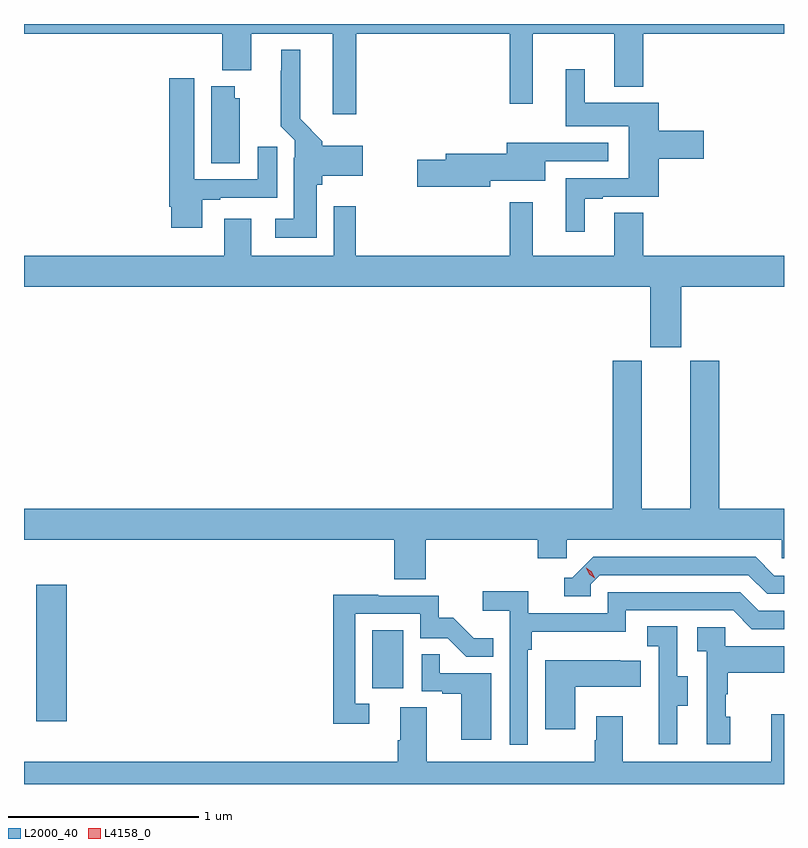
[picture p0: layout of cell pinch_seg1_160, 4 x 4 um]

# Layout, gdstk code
import gdstk
lib = gdstk.Library(unit=1e-6, precision=1e-09)
def R(c, l, rs):  # rectangles x0, y0, x1, y1
    for r in rs: c.add(gdstk.rectangle(r[:2], r[2:], *l))
def P(c, l, *ps):  # polygons
    for p in ps: c.add(gdstk.Polygon(p, *l))
L2000_40 = (2000, 40)
L4158_0 = (4158, 0)

pinch_seg1_160 = lib.new_cell('pinch_seg1_160')
R(pinch_seg1_160, L2000_40, [(1095.953,542.784,1096.114,543.505), (1097.72,542.958,1097.884,543.265)])
P(pinch_seg1_160, L2000_40, [(1097.636,546.404),(1098.444,546.404),(1098.444,546.036),(1098.565,546.036),(1098.565,546.404),(1098.995,546.404),(1098.995,546.125),(1099.148,546.125),(1099.148,546.404),(1099.888,546.404),(1099.888,546.455),(1095.888,546.455),(1095.888,546.404),(1096.931,546.404),(1096.931,546.212),(1097.083,546.212),(1097.083,546.404),(1097.513,546.404),(1097.513,545.979),(1097.636,545.979)],
  [(1097.428,545.61),(1097.459,545.61),(1097.459,545.657),(1097.671,545.657),(1097.671,545.815),(1097.459,545.815),(1097.459,545.838),(1097.341,545.956),(1097.341,546.319),(1097.243,546.319),(1097.243,546.209),(1097.239,546.209),(1097.239,545.918),(1097.313,545.844),(1097.313,545.75),(1097.309,545.75),(1097.309,545.431),(1097.211,545.431),(1097.211,545.33),(1097.428,545.33)],
  [(1098.838,545.535),(1098.934,545.535),(1098.934,545.547),(1099.229,545.547),(1099.229,545.747),(1099.465,545.747),(1099.465,545.894),(1099.229,545.894),(1099.229,546.04),(1098.838,546.04),(1098.838,546.217),(1098.74,546.217),(1098.74,545.918),(1099.07,545.918),(1099.07,545.643),(1098.74,545.643),(1098.74,545.361),(1098.838,545.361)],
  [(1096.825,545.529),(1096.921,545.529),(1096.921,545.541),(1097.221,545.541),(1097.221,545.809),(1097.117,545.809),(1097.117,545.637),(1096.783,545.637),(1096.783,546.169),(1096.652,546.169),(1096.652,545.494),(1096.664,545.494),(1096.664,545.382),(1096.825,545.382)],
  [(1097.023,546.063),(1096.996,546.063),(1096.996,546.127),(1096.874,546.127),(1096.874,545.722),(1097.023,545.722)],
  [(1098.342,545.63),(1098.631,545.63),(1098.631,545.733),(1098.964,545.733),(1098.964,545.829),(1098.644,545.829),(1098.644,545.831),(1098.428,545.831),(1098.428,545.771),(1098.107,545.771),(1098.107,545.741),(1097.958,545.741),(1097.958,545.599),(1098.342,545.599)],
  [(1098.444,545.518),(1098.444,545.236),(1097.633,545.236),(1097.633,545.497),(1097.517,545.497),(1097.517,545.236),(1097.083,545.236),(1097.083,545.431),(1096.943,545.431),(1096.943,545.236),(1095.888,545.236),(1095.888,545.072),(1099.184,545.072),(1099.184,544.755),(1099.348,544.755),(1099.348,545.072),(1099.888,545.072),(1099.888,545.236),(1099.148,545.236),(1099.148,545.462),(1098.995,545.462),(1098.995,545.236),(1098.565,545.236),(1098.565,545.518)],
  [(1098.002,543.74),(1098.593,543.74),(1098.593,543.642),(1098.744,543.642),(1098.744,543.74),(1099.875,543.74),(1099.875,543.642),(1099.888,543.642),(1099.888,543.904),(1099.547,543.904),(1099.547,544.683),(1099.394,544.683),(1099.394,543.904),(1099.138,543.904),(1099.138,544.683),(1098.986,544.683),(1098.986,543.904),(1095.888,543.904),(1095.888,543.74),(1097.837,543.74),(1097.837,543.532),(1098.002,543.532)],
  [(1098.87,543.507),(1098.918,543.555),(1099.701,543.555),(1099.8,543.456),(1099.888,543.456),(1099.888,543.552),(1099.837,543.552),(1099.738,543.651),(1098.885,543.651),(1098.774,543.54),(1098.731,543.54),(1098.731,543.444),(1098.87,543.444)],
  [(1098.54,543.161),(1098.56,543.161),(1098.56,543.257),(1099.056,543.257),(1099.056,543.369),(1099.62,543.369),(1099.719,543.27),(1099.888,543.27),(1099.888,543.366),(1099.756,543.366),(1099.657,543.465),(1098.96,543.465),(1098.96,543.354),(1098.542,543.354),(1098.542,543.47),(1098.303,543.47),(1098.303,543.368),(1098.444,543.368),(1098.444,542.661),(1098.54,542.661)],
  [(1097.704,542.877),(1097.631,542.877),(1097.631,543.351),(1097.973,543.351),(1097.973,543.222),(1098.117,543.222),(1098.215,543.124),(1098.359,543.124),(1098.359,543.223),(1098.255,543.223),(1098.148,543.33),(1098.072,543.33),(1098.072,543.447),(1097.753,543.447),(1097.753,543.452),(1097.515,543.452),(1097.515,542.772),(1097.704,542.772)],
  [(1099.327,542.866),(1099.381,542.866),(1099.381,543.021),(1099.326,543.021),(1099.326,543.284),(1099.167,543.284),(1099.167,543.181),(1099.23,543.181),(1099.23,542.877),(1099.229,542.877),(1099.229,542.664),(1099.327,542.664)],
  [(1099.606,542.808),(1099.581,542.808),(1099.581,542.927),(1099.591,542.927),(1099.591,543.041),(1099.888,543.041),(1099.888,543.181),(1099.578,543.181),(1099.578,543.279),(1099.431,543.279),(1099.431,543.155),(1099.482,543.155),(1099.482,542.664),(1099.606,542.664)],
  [(1098.346,543.039),(1098.077,543.039),(1098.077,543.137),(1097.982,543.137),(1097.982,542.943),(1098.089,542.943),(1098.089,542.931),(1098.188,542.931),(1098.188,542.688),(1098.346,542.688)],
  [(1098.79,542.966),(1099.133,542.966),(1099.133,543.103),(1099.025,543.103),(1099.025,543.106),(1098.632,543.106),(1098.632,542.742),(1098.79,542.742)],
  [(1099.888,542.821),(1099.82,542.821),(1099.82,542.572),(1099.039,542.572),(1099.039,542.812),(1098.899,542.812),(1098.899,542.684),(1098.892,542.684),(1098.892,542.572),(1098.007,542.572),(1098.007,542.858),(1097.867,542.858),(1097.867,542.684),(1097.855,542.684),(1097.855,542.572),(1095.888,542.572),(1095.888,542.455),(1099.888,542.455)])
P(pinch_seg1_160, L4158_0, [(1098.892,543.539),(1098.862,543.56),(1098.846,543.593),(1098.846,543.593),(1098.847,543.593),(1098.877,543.573),(1098.893,543.54),(1098.893,543.539)])

lib.write_gds('pinch_seg1_160.gds')
